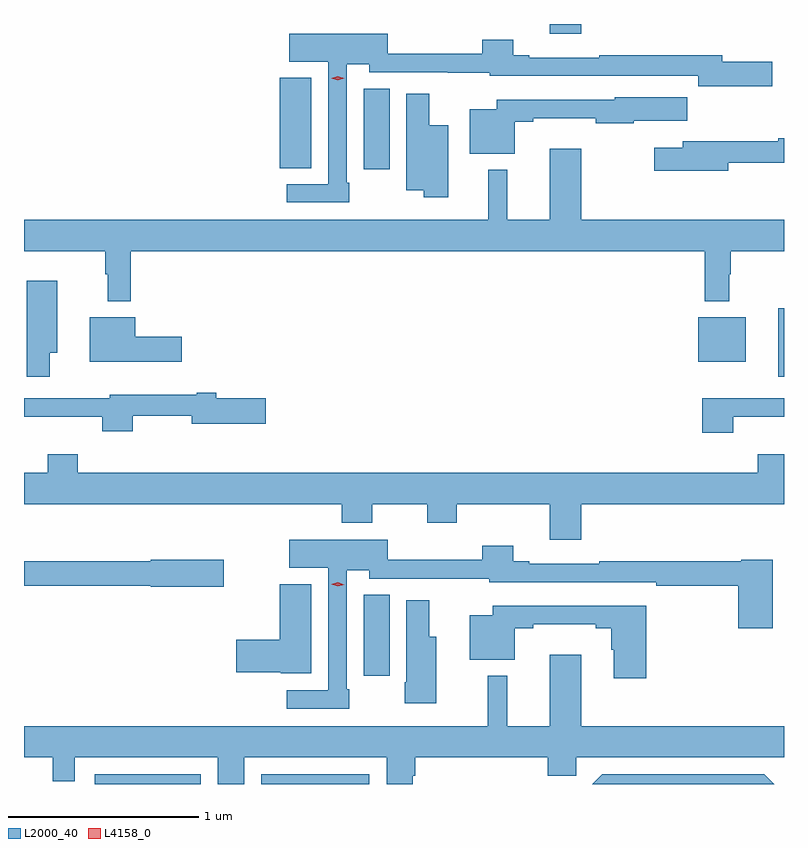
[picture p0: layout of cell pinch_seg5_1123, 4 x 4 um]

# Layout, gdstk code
import gdstk
lib = gdstk.Library(unit=1e-6, precision=1e-09)
def R(c, l, rs):  # rectangles x0, y0, x1, y1
    for r in rs: c.add(gdstk.rectangle(r[:2], r[2:], *l))
def P(c, l, *ps):  # polygons
    for p in ps: c.add(gdstk.Polygon(p, *l))
L2000_40 = (2000, 40)
L4158_0 = (4158, 0)

pinch_seg5_1123 = lib.new_cell('pinch_seg5_1123')
R(pinch_seg5_1123, L2000_40, [(881.892,839.303,882.45,839.355), (882.768,839.303,883.338,839.355), (883.307,839.874,883.444,840.299), (885.491,841.446,885.52,841.807), (885.068,841.526,885.319,841.759), (883.307,842.538,883.444,842.963), (882.866,842.545,883.033,843.019), (884.288,843.252,884.452,843.303)])
P(pinch_seg5_1123, L2000_40, [(883.231,842.467),(883.218,842.467),(883.218,843.092),(883.338,843.092),(883.338,843.048),(883.75,843.048),(883.75,843.047),(883.971,843.047),(883.971,843.03),(885.068,843.03),(885.068,842.975),(885.457,842.975),(885.457,843.105),(885.196,843.105),(885.196,843.139),(884.548,843.139),(884.548,843.126),(884.179,843.126),(884.179,843.139),(884.096,843.139),(884.096,843.22),(883.931,843.22),(883.931,843.146),(883.434,843.146),(883.434,843.253),(882.915,843.253),(882.915,843.104),(883.122,843.104),(883.122,842.46),(882.903,842.46),(882.903,842.364),(883.231,842.364)],
  [(883.753,842.77),(883.654,842.77),(883.654,842.935),(883.532,842.935),(883.532,842.429),(883.624,842.429),(883.624,842.39),(883.753,842.39)],
  [(884.103,842.788),(884.2,842.788),(884.2,842.807),(884.528,842.807),(884.528,842.78),(884.728,842.78),(884.728,842.795),(885.011,842.795),(885.011,842.917),(884.628,842.917),(884.628,842.904),(884.007,842.904),(884.007,842.854),(883.865,842.854),(883.865,842.621),(884.103,842.621)],
  [(885.226,842.574),(885.52,842.574),(885.52,842.702),(885.491,842.702),(885.491,842.687),(884.987,842.687),(884.987,842.653),(884.838,842.653),(884.838,842.531),(885.226,842.531)],
  [(881.52,842.108),(881.947,842.108),(881.947,841.985),(881.962,841.985),(881.962,841.845),(882.083,841.845),(882.083,842.108),(885.103,842.108),(885.103,841.845),(885.232,841.845),(885.232,841.985),(885.239,841.985),(885.239,842.108),(885.52,842.108),(885.52,842.272),(884.452,842.272),(884.452,842.647),(884.288,842.647),(884.288,842.272),(884.064,842.272),(884.064,842.536),(883.964,842.536),(883.964,842.272),(881.52,842.272)],
  [(881.656,841.574),(881.695,841.574),(881.695,841.951),(881.534,841.951),(881.534,841.446),(881.656,841.446)],
  [(882.349,841.656),(882.106,841.656),(882.106,841.759),(881.867,841.759),(881.867,841.526),(882.349,841.526)],
  [(882.093,841.242),(882.404,841.242),(882.404,841.199),(882.793,841.199),(882.793,841.334),(882.532,841.334),(882.532,841.363),(882.428,841.363),(882.428,841.351),(881.97,841.351),(881.97,841.334),(881.752,841.334),(881.752,841.332),(881.52,841.332),(881.52,841.235),(881.933,841.235),(881.933,841.16),(882.093,841.16)],
  [(885.254,841.235),(885.52,841.235),(885.52,841.332),(885.337,841.332),(885.337,841.334),(885.089,841.334),(885.089,841.152),(885.254,841.152)],
  [(884.452,840.776),(885.52,840.776),(885.52,841.039),(885.383,841.039),(885.383,840.94),(881.804,840.94),(881.804,841.039),(881.644,841.039),(881.644,840.94),(881.52,840.94),(881.52,840.776),(883.193,840.776),(883.193,840.677),(883.353,840.677),(883.353,840.776),(883.642,840.776),(883.642,840.677),(883.797,840.677),(883.797,840.776),(884.288,840.776),(884.288,840.588),(884.452,840.588)],
  [(883.231,839.803),(883.218,839.803),(883.218,840.428),(883.338,840.428),(883.338,840.384),(883.75,840.384),(883.75,840.383),(883.968,840.383),(883.968,840.366),(884.848,840.366),(884.848,840.346),(885.278,840.346),(885.278,840.123),(885.461,840.123),(885.461,840.483),(885.294,840.483),(885.294,840.475),(884.548,840.475),(884.548,840.462),(884.179,840.462),(884.179,840.475),(884.096,840.475),(884.096,840.556),(883.931,840.556),(883.931,840.482),(883.434,840.482),(883.434,840.589),(882.915,840.589),(882.915,840.44),(883.122,840.44),(883.122,839.796),(882.903,839.796),(882.903,839.7),(883.231,839.7)],
  [(882.571,840.483),(882.186,840.483),(882.186,840.475),(881.52,840.475),(881.52,840.346),(882.186,840.346),(882.186,840.341),(882.571,840.341)],
  [(883.033,840.355),(882.866,840.355),(882.866,840.062),(882.636,840.062),(882.636,839.891),(882.87,839.891),(882.87,839.885),(883.033,839.885)],
  [(883.69,840.079),(883.654,840.079),(883.654,840.271),(883.532,840.271),(883.532,839.839),(883.525,839.839),(883.525,839.727),(883.69,839.727)],
  [(884.795,840.24),(883.988,840.24),(883.988,840.19),(883.865,840.19),(883.865,839.957),(884.104,839.957),(884.104,840.124),(884.2,840.124),(884.2,840.143),(884.528,840.143),(884.528,840.124),(884.612,840.124),(884.612,840.009),(884.624,840.009),(884.624,839.859),(884.795,839.859)],
  [(882.678,839.444),(883.428,839.444),(883.428,839.303),(883.565,839.303),(883.565,839.346),(883.58,839.346),(883.58,839.444),(884.277,839.444),(884.277,839.346),(884.427,839.346),(884.427,839.444),(885.52,839.444),(885.52,839.608),(884.452,839.608),(884.452,839.983),(884.288,839.983),(884.288,839.608),(884.064,839.608),(884.064,839.872),(883.96,839.872),(883.96,839.608),(881.52,839.608),(881.52,839.444),(881.671,839.444),(881.671,839.317),(881.787,839.317),(881.787,839.444),(882.539,839.444),(882.539,839.303),(882.678,839.303)],
  [(885.417,839.355),(884.564,839.355),(884.512,839.303),(885.469,839.303)])
P(pinch_seg5_1123, L4158_0, [(883.171,840.344),(883.136,840.354),(883.136,840.354),(883.136,840.354),(883.171,840.364),(883.206,840.353),(883.206,840.353),(883.206,840.353)],
  [(883.171,843.007),(883.136,843.017),(883.136,843.017),(883.136,843.018),(883.171,843.027),(883.206,843.018),(883.206,843.017),(883.206,843.017)])

lib.write_gds('pinch_seg5_1123.gds')
